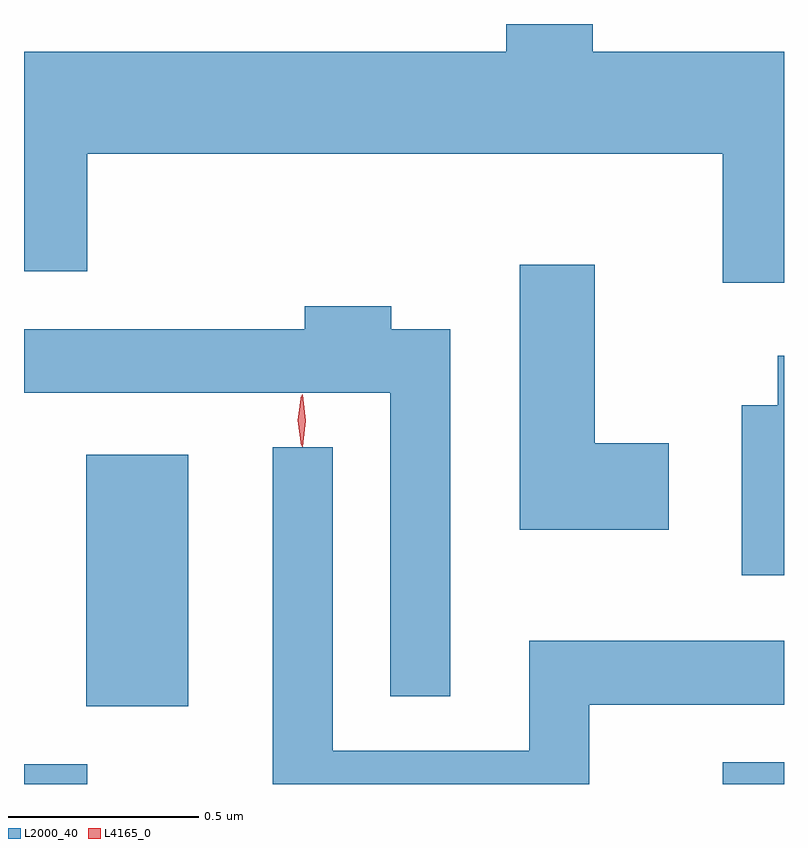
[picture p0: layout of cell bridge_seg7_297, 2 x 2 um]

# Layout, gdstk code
import gdstk
lib = gdstk.Library(unit=1e-6, precision=1e-09)
def R(c, l, rs):  # rectangles x0, y0, x1, y1
    for r in rs: c.add(gdstk.rectangle(r[:2], r[2:], *l))
def P(c, l, *ps):  # polygons
    for p in ps: c.add(gdstk.Polygon(p, *l))
L2000_40 = (2000, 40)
L4165_0 = (4165, 0)

bridge_seg7_297 = lib.new_cell('bridge_seg7_297')
R(bridge_seg7_297, L2000_40, [(1316.592,1799.237,1316.759,1799.289), (1318.431,1799.237,1318.592,1799.294), (1316.756,1799.441,1317.024,1800.104)])
P(bridge_seg7_297, L2000_40, [(1318.592,1801.164),(1318.089,1801.164),(1318.089,1801.237),(1317.861,1801.237),(1317.861,1801.164),(1316.592,1801.164),(1316.592,1800.586),(1316.759,1800.586),(1316.759,1800.896),(1318.431,1800.896),(1318.431,1800.556),(1318.592,1800.556)],
  [(1318.289,1800.134),(1318.094,1800.134),(1318.094,1800.604),(1317.896,1800.604),(1317.896,1799.906),(1318.289,1799.906)],
  [(1317.714,1800.434),(1317.559,1800.434),(1317.559,1800.494),(1317.331,1800.494),(1317.331,1800.434),(1316.592,1800.434),(1316.592,1800.266),(1317.556,1800.266),(1317.556,1799.468),(1317.714,1799.468)],
  [(1318.592,1800.364),(1318.576,1800.364),(1318.576,1800.234),(1318.481,1800.234),(1318.481,1799.786),(1318.592,1799.786)],
  [(1318.079,1799.446),(1318.592,1799.446),(1318.592,1799.614),(1317.921,1799.614),(1317.921,1799.324),(1317.404,1799.324),(1317.404,1800.123),(1317.246,1800.123),(1317.246,1799.237),(1318.079,1799.237)])
P(bridge_seg7_297, L4165_0, [(1317.324,1800.124),(1317.324,1800.124),(1317.314,1800.193),(1317.324,1800.262),(1317.324,1800.263),(1317.325,1800.262),(1317.334,1800.193),(1317.325,1800.124)],
  [(1317.321,1800.127),(1317.312,1800.194),(1317.321,1800.26),(1317.322,1800.26),(1317.322,1800.26),(1317.332,1800.194),(1317.322,1800.127),(1317.322,1800.127)])

lib.write_gds('bridge_seg7_297.gds')
